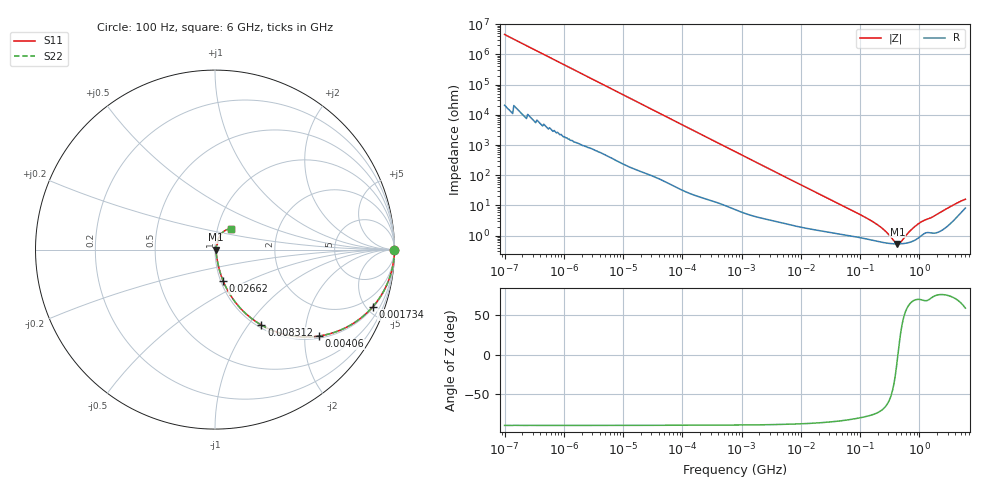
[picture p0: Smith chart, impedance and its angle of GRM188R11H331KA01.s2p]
!Murata Part Number: GRM188R11H331KA01
!These Parameters are Measured in Series Mode Connection
!Data Generated on Mar 30, 2021
!  o--ll--o
!Port1  Port2
!  o------o
!Operation Temp=25[degC], DC Bias Voltage=0[V]
!Freq. Start=100[Hz] Stop=6[GHz] 401[Steps]
# Hz S RI R 50
!Freq.(Hz) S11(Real) S11(Imag) S21(Real) S21(Imag) S12(Real) S12(Imag) S22(Real) S22(Imag)
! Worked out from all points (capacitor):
!   401 points, 100 Hz to 6 GHz, reference 50 ohm
!   read as one part in series: C = 349 pF near 109 Hz
!   lowest |Z| = 537 mohm at 427.4 MHz (marker M1)
!   series resonance near 435.8 MHz, so ESL is about 380 pH
!   S11 on the Smith chart (normalised r, x): 100 Hz: open; 1.734 MHz: 1.08, -5.46; 4.06 MHz: 1.06, -2.35; 8.312 MHz: 1.04, -1.16; 26.62 MHz: 1.03, -0.37; 6 GHz: 1.16, +0.28
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100  1 -2.19e-05  1e-07 2.19e-05  1e-07 2.19e-05  1 -2.19e-05
458  1 -0.0001  5e-07 0.0001  5e-07 0.0001  1 -0.0001
2008  1 -0.000437  2.1e-06 0.000437  2.1e-06 0.000437  1 -0.000437
40335  0.9999 -0.00868  0.000133 0.00868  0.000133 0.00868  0.9999 -0.00868
241822  0.9969 -0.0515  0.00311 0.0515  0.00311 0.0515  0.9969 -0.0515
774597  0.9719 -0.1594  0.0281 0.1594  0.0281 0.1594  0.9719 -0.1594
1734173  0.8779 -0.3197  0.1221 0.3197  0.1221 0.3197  0.8779 -0.3197
2594782  0.7658 -0.414  0.2342 0.414  0.2342 0.414  0.7658 -0.414
4060267  0.578 -0.4818  0.422 0.4818  0.422 0.4818  0.578 -0.4818
8311524  0.2586 -0.4204  0.7414 0.4204  0.7414 0.4204  0.2586 -0.4204
1.555665e7  0.1007 -0.2761  0.8993 0.2761  0.8993 0.2761  0.1007 -0.2761
2.662322e7  0.0448 -0.1735  0.9552 0.1735  0.9552 0.1735  0.0448 -0.1735
1.526266e8  0.00812 -0.0304  0.9919 0.0304  0.9919 0.0304  0.00812 -0.0304
2.283698e8  0.00638 -0.0173  0.9936 0.0173  0.9936 0.0173  0.00638 -0.0173
3.124326e8  0.00559 -0.00865  0.9944 0.00865  0.9944 0.00865  0.00559 -0.00865
3.908258e8  0.00534 -0.00281  0.9947 0.00281  0.9947 0.00281  0.00534 -0.00281
4.274388e8  0.00531 -0.000498  0.9947 0.000498  0.9947 0.000498  0.00531 -0.000498
4.888888e8  0.00537 0.003  0.9946 -0.003  0.9946 -0.003  0.00537 0.003
7.31507e8  0.00644 0.0142  0.9936 -0.0142  0.9936 -0.0142  0.00644 0.0142
1.046602e9  0.01 0.0255  0.99 -0.0255  0.99 -0.0255  0.01 0.0255
4.009986e9  0.0441 0.0973  0.9559 -0.0973  0.9559 -0.0973  0.0441 0.0973
6e9  0.0908 0.1156  0.9092 -0.1156  0.9092 -0.1156  0.0908 0.1156
